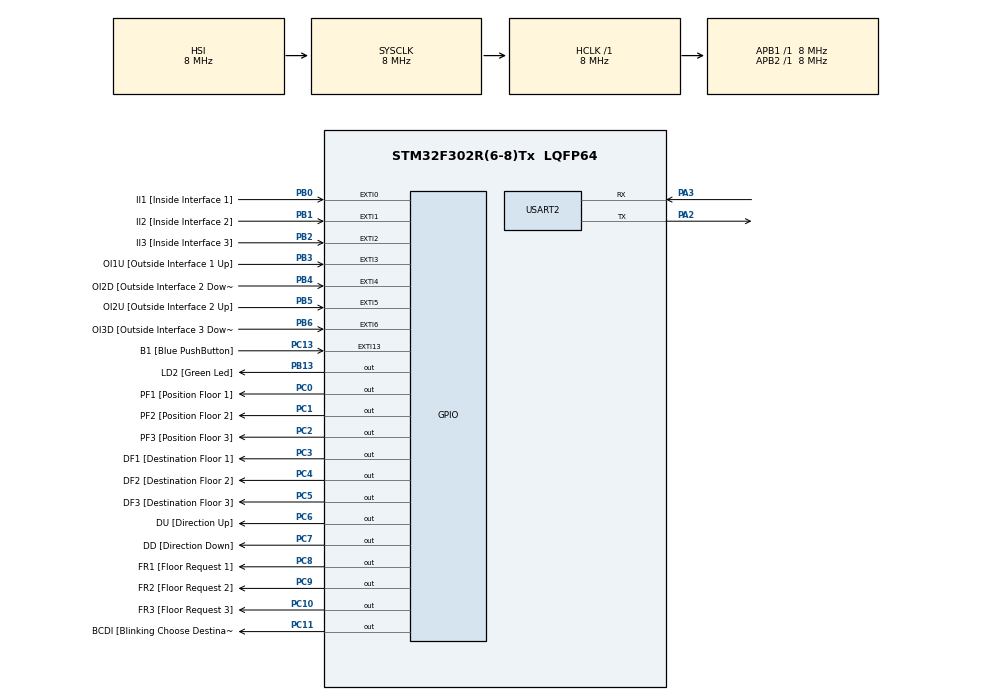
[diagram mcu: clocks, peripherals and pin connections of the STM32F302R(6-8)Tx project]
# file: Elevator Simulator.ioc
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Mcu.Family=STM32F3
Mcu.Name=STM32F302R(6-8)Tx
Mcu.Package=LQFP64
NVIC.EXTI0_IRQn=true\:0\:0\:false\:false\:true\:true\:true\:true
NVIC.EXTI15_10_IRQn=true\:0\:0\:false\:false\:true\:true\:true\:true
NVIC.EXTI1_IRQn=true\:0\:0\:false\:false\:true\:true\:true\:true
NVIC.EXTI2_TSC_IRQn=true\:0\:0\:false\:false\:true\:true\:true\:true
NVIC.EXTI3_IRQn=true\:0\:0\:false\:false\:true\:true\:true\:true
NVIC.EXTI4_IRQn=true\:0\:0\:false\:false\:true\:true\:true\:true
NVIC.EXTI9_5_IRQn=true\:0\:0\:false\:false\:true\:true\:true\:true
NVIC.PriorityGroup=NVIC_PRIORITYGROUP_4
NVIC.TIM1_BRK_TIM15_IRQn=true\:0\:0\:false\:false\:true\:true\:true\:true
NVIC.TIM2_IRQn=true\:0\:0\:false\:false\:true\:true\:true\:true
NVIC.TIM6_DAC_IRQn=true\:0\:0\:false\:false\:true\:true\:true\:true
PA2.Mode=Asynchronous
PA2.Signal=USART2_TX
PA3.Mode=Asynchronous
PA3.Signal=USART2_RX
PB0.GPIO_Label=II1 [Inside Interface 1]
PB0.GPIO_ModeDefaultEXTI=GPIO_MODE_IT_RISING
PB0.GPIO_PuPd=GPIO_PULLUP
PB0.Signal=GPXTI0
PB1.GPIO_Label=II2 [Inside Interface 2]
PB1.GPIO_ModeDefaultEXTI=GPIO_MODE_IT_RISING
PB1.GPIO_PuPd=GPIO_PULLUP
PB1.Signal=GPXTI1
PB13.GPIO_Label=LD2 [Green Led]
PB13.Signal=GPIO_Output
PB2.GPIO_Label=II3 [Inside Interface 3]
PB2.GPIO_ModeDefaultEXTI=GPIO_MODE_IT_RISING
PB2.GPIO_PuPd=GPIO_PULLUP
PB2.Signal=GPXTI2
PB3.GPIO_Label=OI1U [Outside Interface 1 Up]
PB3.GPIO_ModeDefaultEXTI=GPIO_MODE_IT_RISING
PB3.GPIO_PuPd=GPIO_PULLUP
PB3.Signal=GPXTI3
PB4.GPIO_Label=OI2D [Outside Interface 2 Down]
PB4.GPIO_ModeDefaultEXTI=GPIO_MODE_IT_RISING
PB4.GPIO_PuPd=GPIO_PULLUP
PB4.Signal=GPXTI4
PB5.GPIO_Label=OI2U [Outside Interface 2 Up]
PB5.GPIO_ModeDefaultEXTI=GPIO_MODE_IT_RISING
PB5.GPIO_PuPd=GPIO_PULLUP
PB5.Signal=GPXTI5
PB6.GPIO_Label=OI3D [Outside Interface 3 Down]
PB6.GPIO_ModeDefaultEXTI=GPIO_MODE_IT_RISING
PB6.GPIO_PuPd=GPIO_PULLUP
PB6.Signal=GPXTI6
PC0.GPIO_Label=PF1 [Position Floor 1]
PC0.Signal=GPIO_Output
PC1.GPIO_Label=PF2 [Position Floor 2]
PC1.Signal=GPIO_Output
PC10.GPIO_Label=FR3 [Floor Request 3]
PC10.Signal=GPIO_Output
PC11.GPIO_Label=BCDI [Blinking Choose Destination Indicator]
PC11.Signal=GPIO_Output
PC13.GPIO_Label=B1 [Blue PushButton]
PC13.GPIO_ModeDefaultEXTI=GPIO_MODE_IT_FALLING
PC13.Signal=GPXTI13
PC2.GPIO_Label=PF3 [Position Floor 3]
PC2.Signal=GPIO_Output
PC3.GPIO_Label=DF1 [Destination Floor 1]
PC3.Signal=GPIO_Output
PC4.GPIO_Label=DF2 [Destination Floor 2]
PC4.Signal=GPIO_Output
PC5.GPIO_Label=DF3 [Destination Floor 3]
PC5.Signal=GPIO_Output
PC6.GPIO_Label=DU [Direction Up]
PC6.Signal=GPIO_Output
PC7.GPIO_Label=DD [Direction Down]
PC7.Signal=GPIO_Output
PC8.GPIO_Label=FR1 [Floor Request 1]
PC8.Signal=GPIO_Output
PC9.GPIO_Label=FR2 [Floor Request 2]
PC9.Signal=GPIO_Output
ProjectManager.HeapSize=0x200
ProjectManager.StackSize=0x400
ProjectManager.TargetToolchain=STM32CubeIDE
RCC.AHBFreq_Value=8000000
RCC.APB1Freq_Value=8000000
RCC.APB2Freq_Value=8000000
RCC.CortexFreq_Value=8000000
RCC.HSE_VALUE=8000000
RCC.HSI_VALUE=8000000
RCC.LSE_VALUE=32768
RCC.SYSCLKFreq_VALUE=8000000
TIM15.Period=111
TIM15.Prescaler=3999
TIM2.CounterMode=TIM_COUNTERMODE_UP
TIM2.Period=9995
TIM2.Prescaler=3999
TIM6.Period=1999
TIM6.Prescaler=3999
USART2.VirtualMode-Asynchronous=VM_ASYNC
VP_TIM15_VS_ClockSourceINT.Mode=Internal
VP_TIM2_VS_ClockSourceINT.Mode=Internal
VP_TIM6_VS_ClockSourceINT.Mode=Enable_Timer
board=custom

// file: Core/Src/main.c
/* USER CODE BEGIN Header */
/**
  ******************************************************************************
  * @file           : main.c
  * @brief          : Main program body
  ******************************************************************************
  * @attention
  *
  * Copyright (c) 2024 STMicroelectronics.
  * All rights reserved.
  *
  * This software is licensed under terms that can be found in the LICENSE file
  * in the root directory of this software component.
  * If no LICENSE file comes with this software, it is provided AS-IS.
  *
  ******************************************************************************
  */
/* USER CODE END Header */
#include "main.h"

/* USER CODE BEGIN Includes */
#include <stdio.h>
#include "stdlib.h"
/* USER CODE END Includes */

/* USER CODE BEGIN PM */
struct request {
	uint8_t requested; // 0 if a floor is not requested. 1 or more if requested 1 or more times
	uint8_t floor_number; // Stores the floor number of a given request.
	char direction; // Direction of the request. Can have values 'n' for no direction, 'u' for up, 'd' for down
};
/* USER CODE END PM */

TIM_HandleTypeDef htim2;
TIM_HandleTypeDef htim6;
TIM_HandleTypeDef htim15;

UART_HandleTypeDef huart2;

/* USER CODE BEGIN PV */
// htim2 : Controls how long an elevator has until it is deemed empty
// htim6 : Controls the movement of the elevator between floors
// htim15 : Controls the BCDI LED that shows that a destination can be chosen from inside the elevator

char msg[40]; // Used to send messages regarding elevator status back to computer to be displayed in terminal
struct request floor_requests[4]; // When a floor makes a request, the requested and direction values for a floor's corresponding element are updated
char elevator_direction; // Stores direction of the elevator. Can have values 'n' for no direction, 'u' for up, and 'd' for down
uint8_t floor_position; // Stores position of the elevator
uint8_t floor_destinations[2]; // Stores the destinations of the elevator (max is 2). Can have values '0' for no floor, or '1', '2', or '3' for the floor of the destination
struct request* requests[4]; // Stores the incoming requests (like a queue). Can have values '0' for no requests, or '1', '2', or '3' for the floor of the request
uint8_t pin_num; // Used to differentiate between OI2U_Pin and OI3D_Pin in the EXTI_9_5_IRQ
struct request* serving; // Stores the floor number that the elevator is currently serving. Can have values '0' for no floor, or '1', '2', or '3' for the floors that are currently being served
uint8_t start_timer; // Indicates that the htim2 has fully ran once
uint8_t traveling; // Boolean variable that used for case 2 and 4 (Where the first floor that requests the elevator is another floor)
/* USER CODE END PV */

void SystemClock_Config(void);
static void MX_GPIO_Init(void);
static void MX_TIM2_Init(void);
static void MX_USART2_UART_Init(void);
static void MX_TIM15_Init(void);
static void MX_TIM6_Init(void);
/* USER CODE BEGIN PFP */
void Program_Start_Light_Up(void); // An LED light up sequence that makes sure all the LED in the system work
void Elevator_Simulator_Init(void); // Initializes all the variables to their default values
void Choose_Floor_To_Service(void);
/* USER CODE END PFP */

int main(void)
{

  /* MCU Configuration--------------------------------------------------------*/

  /* Reset of all peripherals, Initializes the Flash interface and the Systick. */
  HAL_Init();

  /* Configure the system clock */
  SystemClock_Config();

  /* Initialize all configured peripherals */
  MX_GPIO_Init();
  MX_TIM2_Init();
  MX_USART2_UART_Init();
  MX_TIM15_Init();
  MX_TIM6_Init();
  /* USER CODE BEGIN 2 */
  Program_Start_Light_Up();
  Elevator_Simulator_Init();
  /* USER CODE END 2 */

  /* Infinite loop */
  while (1)
  {

  }
}

void SystemClock_Config(void)
{
  RCC_OscInitTypeDef RCC_OscInitStruct = {0};
  RCC_ClkInitTypeDef RCC_ClkInitStruct = {0};
  RCC_PeriphCLKInitTypeDef PeriphClkInit = {0};

  /** Initializes the RCC Oscillators according to the specified parameters
  * in the RCC_OscInitTypeDef structure.
  */
  RCC_OscInitStruct.OscillatorType = RCC_OSCILLATORTYPE_HSI;
  RCC_OscInitStruct.HSIState = RCC_HSI_ON;
  RCC_OscInitStruct.HSICalibrationValue = RCC_HSICALIBRATION_DEFAULT;
  RCC_OscInitStruct.PLL.PLLState = RCC_PLL_NONE;
  if (HAL_RCC_OscConfig(&RCC_OscInitStruct) != HAL_OK)
  {
    Error_Handler();
  }

  /** Initializes the CPU, AHB and APB buses clocks
  */
  RCC_ClkInitStruct.ClockType = RCC_CLOCKTYPE_HCLK|RCC_CLOCKTYPE_SYSCLK
                              |RCC_CLOCKTYPE_PCLK1|RCC_CLOCKTYPE_PCLK2;
  RCC_ClkInitStruct.SYSCLKSource = RCC_SYSCLKSOURCE_HSI;
  RCC_ClkInitStruct.AHBCLKDivider = RCC_SYSCLK_DIV1;
  RCC_ClkInitStruct.APB1CLKDivider = RCC_HCLK_DIV1;
  RCC_ClkInitStruct.APB2CLKDivider = RCC_HCLK_DIV1;

  if (HAL_RCC_ClockConfig(&RCC_ClkInitStruct, FLASH_LATENCY_0) != HAL_OK)
  {
    Error_Handler();
  }
  PeriphClkInit.PeriphClockSelection = RCC_PERIPHCLK_TIM15;
  PeriphClkInit.Tim15ClockSelection = RCC_TIM15CLK_HCLK;
  if (HAL_RCCEx_PeriphCLKConfig(&PeriphClkInit) != HAL_OK)
  {
    Error_Handler();
  }
}

static void MX_TIM2_Init(void)
{

  TIM_ClockConfigTypeDef sClockSourceConfig = {0};
  TIM_MasterConfigTypeDef sMasterConfig = {0};

  htim2.Instance = TIM2;
  htim2.Init.Prescaler = 3999;
  htim2.Init.CounterMode = TIM_COUNTERMODE_UP;
  htim2.Init.Period = 9995;
  htim2.Init.ClockDivision = TIM_CLOCKDIVISION_DIV1;
  htim2.Init.AutoReloadPreload = TIM_AUTORELOAD_PRELOAD_DISABLE;
  if (HAL_TIM_Base_Init(&htim2) != HAL_OK)
  {
    Error_Handler();
  }
  sClockSourceConfig.ClockSource = TIM_CLOCKSOURCE_INTERNAL;
  if (HAL_TIM_ConfigClockSource(&htim2, &sClockSourceConfig) != HAL_OK)
  {
    Error_Handler();
  }
  sMasterConfig.MasterOutputTrigger = TIM_TRGO_RESET;
  sMasterConfig.MasterSlaveMode = TIM_MASTERSLAVEMODE_DISABLE;
  if (HAL_TIMEx_MasterConfigSynchronization(&htim2, &sMasterConfig) != HAL_OK)
  {
    Error_Handler();
  }

}

static void MX_TIM6_Init(void)
{

  TIM_MasterConfigTypeDef sMasterConfig = {0};

  htim6.Instance = TIM6;
  htim6.Init.Prescaler = 3999;
  htim6.Init.CounterMode = TIM_COUNTERMODE_UP;
  htim6.Init.Period = 1999;
  htim6.Init.AutoReloadPreload = TIM_AUTORELOAD_PRELOAD_DISABLE;
  if (HAL_TIM_Base_Init(&htim6) != HAL_OK)
  {
    Error_Handler();
  }
  sMasterConfig.MasterOutputTrigger = TIM_TRGO_RESET;
  sMasterConfig.MasterSlaveMode = TIM_MASTERSLAVEMODE_DISABLE;
  if (HAL_TIMEx_MasterConfigSynchronization(&htim6, &sMasterConfig) != HAL_OK)
  {
    Error_Handler();
  }

}

static void MX_TIM15_Init(void)
{

  TIM_ClockConfigTypeDef sClockSourceConfig = {0};
  TIM_MasterConfigTypeDef sMasterConfig = {0};

  htim15.Instance = TIM15;
  htim15.Init.Prescaler = 3999;
  htim15.Init.CounterMode = TIM_COUNTERMODE_UP;
  htim15.Init.Period = 111;
  htim15.Init.ClockDivision = TIM_CLOCKDIVISION_DIV1;
  htim15.Init.RepetitionCounter = 0;
  htim15.Init.AutoReloadPreload = TIM_AUTORELOAD_PRELOAD_DISABLE;
  if (HAL_TIM_Base_Init(&htim15) != HAL_OK)
  {
    Error_Handler();
  }
  sClockSourceConfig.ClockSource = TIM_CLOCKSOURCE_INTERNAL;
  if (HAL_TIM_ConfigClockSource(&htim15, &sClockSourceConfig) != HAL_OK)
  {
    Error_Handler();
  }
  sMasterConfig.MasterOutputTrigger = TIM_TRGO_RESET;
  sMasterConfig.MasterSlaveMode = TIM_MASTERSLAVEMODE_DISABLE;
  if (HAL_TIMEx_MasterConfigSynchronization(&htim15, &sMasterConfig) != HAL_OK)
  {
    Error_Handler();
  }

}

static void MX_USART2_UART_Init(void)
{

  huart2.Instance = USART2;
  huart2.Init.BaudRate = 38400;
  huart2.Init.WordLength = UART_WORDLENGTH_8B;
  huart2.Init.StopBits = UART_STOPBITS_1;
  huart2.Init.Parity = UART_PARITY_NONE;
  huart2.Init.Mode = UART_MODE_TX_RX;
  huart2.Init.HwFlowCtl = UART_HWCONTROL_NONE;
  huart2.Init.OverSampling = UART_OVERSAMPLING_16;
  huart2.Init.OneBitSampling = UART_ONE_BIT_SAMPLE_DISABLE;
  huart2.AdvancedInit.AdvFeatureInit = UART_ADVFEATURE_NO_INIT;
  if (HAL_UART_Init(&huart2) != HAL_OK)
  {
    Error_Handler();
  }

}

static void MX_GPIO_Init(void)
{
  GPIO_InitTypeDef GPIO_InitStruct = {0};

  /* GPIO Ports Clock Enable */
  __HAL_RCC_GPIOC_CLK_ENABLE();
  __HAL_RCC_GPIOA_CLK_ENABLE();
  __HAL_RCC_GPIOB_CLK_ENABLE();

  /*Configure GPIO pin Output Level */
  HAL_GPIO_WritePin(GPIOC, PF1_Pin|PF2_Pin|PF3_Pin|DF1_Pin
                          |DF2_Pin|DF3_Pin|DU_Pin|DD_Pin
                          |FR1_Pin|FR2_Pin|FR3_Pin|BCDI_Pin, GPIO_PIN_RESET);

  /*Configure GPIO pin Output Level */
  HAL_GPIO_WritePin(LD2_GPIO_Port, LD2_Pin, GPIO_PIN_RESET);

  /*Configure GPIO pin : B1_Pin */
  GPIO_InitStruct.Pin = B1_Pin;
  GPIO_InitStruct.Mode = GPIO_MODE_IT_FALLING;
  GPIO_InitStruct.Pull = GPIO_NOPULL;
  HAL_GPIO_Init(B1_GPIO_Port, &GPIO_InitStruct);

  /*Configure GPIO pins : PF1_Pin PF2_Pin PF3_Pin DF1_Pin
                           DF2_Pin DF3_Pin DU_Pin DD_Pin
                           FR1_Pin FR2_Pin FR3_Pin BCDI_Pin */
  GPIO_InitStruct.Pin = PF1_Pin|PF2_Pin|PF3_Pin|DF1_Pin
                          |DF2_Pin|DF3_Pin|DU_Pin|DD_Pin
                          |FR1_Pin|FR2_Pin|FR3_Pin|BCDI_Pin;
  GPIO_InitStruct.Mode = GPIO_MODE_OUTPUT_PP;
  GPIO_InitStruct.Pull = GPIO_NOPULL;
  GPIO_InitStruct.Speed = GPIO_SPEED_FREQ_LOW;
  HAL_GPIO_Init(GPIOC, &GPIO_InitStruct);

  /*Configure GPIO pins : II1_Pin II2_Pin II3_Pin OI1U_Pin
                           OI2D_Pin OI2U_Pin OI3D_Pin */
  GPIO_InitStruct.Pin = II1_Pin|II2_Pin|II3_Pin|OI1U_Pin
                          |OI2D_Pin|OI2U_Pin|OI3D_Pin;
  GPIO_InitStruct.Mode = GPIO_MODE_IT_RISING;
  GPIO_InitStruct.Pull = GPIO_PULLUP;
  HAL_GPIO_Init(GPIOB, &GPIO_InitStruct);

  /*Configure GPIO pin : LD2_Pin */
  GPIO_InitStruct.Pin = LD2_Pin;
  GPIO_InitStruct.Mode = GPIO_MODE_OUTPUT_PP;
  GPIO_InitStruct.Pull = GPIO_NOPULL;
  GPIO_InitStruct.Speed = GPIO_SPEED_FREQ_LOW;
  HAL_GPIO_Init(LD2_GPIO_Port, &GPIO_InitStruct);

  /* EXTI interrupt init*/
  HAL_NVIC_SetPriority(EXTI0_IRQn, 0, 0);
  HAL_NVIC_EnableIRQ(EXTI0_IRQn);

  HAL_NVIC_SetPriority(EXTI1_IRQn, 0, 0);
  HAL_NVIC_EnableIRQ(EXTI1_IRQn);

  HAL_NVIC_SetPriority(EXTI2_TSC_IRQn, 0, 0);
  HAL_NVIC_EnableIRQ(EXTI2_TSC_IRQn);

  HAL_NVIC_SetPriority(EXTI3_IRQn, 0, 0);
  HAL_NVIC_EnableIRQ(EXTI3_IRQn);

  HAL_NVIC_SetPriority(EXTI4_IRQn, 0, 0);
  HAL_NVIC_EnableIRQ(EXTI4_IRQn);

  HAL_NVIC_SetPriority(EXTI9_5_IRQn, 0, 0);
  HAL_NVIC_EnableIRQ(EXTI9_5_IRQn);

  HAL_NVIC_SetPriority(EXTI15_10_IRQn, 0, 0);
  HAL_NVIC_EnableIRQ(EXTI15_10_IRQn);

}

/* USER CODE BEGIN 4 */
//void HAL_TIM_PeriodElapsedCallback(TIM_HandleTypeDef *htim) {
//	if (htim->Instance == TIM2) {
////		HAL_GPIO_TogglePin(LD2_GPIO_Port, LD2_Pin);
//		for (int i = 0; i < 20; i++) {
//			msg[i] = '\0';
//		}
//	}
//}

void Elevator_Simulator_Init(void) {
	HAL_NVIC_SetPriority(TIM2_IRQn, 0, 0);
	HAL_NVIC_EnableIRQ(TIM2_IRQn);
	HAL_NVIC_SetPriority(TIM6_DAC_IRQn, 1, 1);
	HAL_NVIC_EnableIRQ(TIM6_DAC_IRQn);
	HAL_NVIC_SetPriority(TIM1_BRK_TIM15_IRQn, 1, 1);
	HAL_NVIC_EnableIRQ(TIM1_BRK_TIM15_IRQn);

	// Floor request corresponding to floor 1 in an upward direction
	floor_requests[0].requested = 0;
	floor_requests[0].floor_number = 1;
	floor_requests[0].direction = 'u';

	// Floor request corresponding to floor 2 in a downward direction
	floor_requests[1].requested = 0;
	floor_requests[1].floor_number = 2;
	floor_requests[1].direction = 'd';

	// Floor request corresponding to floor 2 in an upward direction
	floor_requests[2].requested = 0;
	floor_requests[2].floor_number = 2;
	floor_requests[2].direction = 'u';

	// Floor request corresponding to floor 3 in a downward direction
	floor_requests[3].requested = 0;
	floor_requests[3].floor_number = 3;
	floor_requests[3].direction = 'd';

	elevator_direction = 'n';
	floor_position = 1; // The elevator always begins in the first floor

	for (int i = 0; i < 2; i++) {
		floor_destinations[i] = 0;
	}

	for (int i =  0; i < 3; i++) {
			requests[i] = NULL;
		}

	pin_num = 0;
	serving = NULL;
	start_timer = 0;
	traveling = 0;

	HAL_GPIO_WritePin(PF1_GPIO_Port, PF1_Pin, GPIO_PIN_SET);
}

void Program_Start_Light_Up(void) {
	HAL_GPIO_TogglePin(PF1_GPIO_Port, PF1_Pin);
	HAL_Delay(250);

	HAL_GPIO_TogglePin(PF2_GPIO_Port, PF2_Pin);
	HAL_GPIO_TogglePin(PF1_GPIO_Port, PF1_Pin);
	HAL_Delay(250);

	HAL_GPIO_TogglePin(PF3_GPIO_Port, PF3_Pin);
	HAL_GPIO_TogglePin(PF2_GPIO_Port, PF2_Pin);
	HAL_Delay(250);

	HAL_GPIO_TogglePin(DF1_GPIO_Port, DF1_Pin);
	HAL_GPIO_TogglePin(PF3_GPIO_Port, PF3_Pin);
	HAL_Delay(250);

	HAL_GPIO_TogglePin(DF2_GPIO_Port, DF2_Pin);
	HAL_GPIO_TogglePin(DF1_GPIO_Port, DF1_Pin);
	HAL_Delay(250);

	HAL_GPIO_TogglePin(DF3_GPIO_Port, DF3_Pin);
	HAL_GPIO_TogglePin(DF2_GPIO_Port, DF2_Pin);
	HAL_Delay(250);

	HAL_GPIO_TogglePin(DU_GPIO_Port, DU_Pin);
	HAL_GPIO_TogglePin(DF3_GPIO_Port, DF3_Pin);
	HAL_Delay(250);

	HAL_GPIO_TogglePin(DD_GPIO_Port, DD_Pin);
	HAL_GPIO_TogglePin(DU_GPIO_Port, DU_Pin);
	HAL_Delay(250);

	HAL_GPIO_TogglePin(FR1_GPIO_Port, FR1_Pin);
	HAL_GPIO_TogglePin(DD_GPIO_Port, DD_Pin);
	HAL_Delay(250);

	HAL_GPIO_TogglePin(FR2_GPIO_Port, FR2_Pin);
	HAL_GPIO_TogglePin(FR1_GPIO_Port, FR1_Pin);
	HAL_Delay(250);

	HAL_GPIO_TogglePin(FR3_GPIO_Port, FR3_Pin);
	HAL_GPIO_TogglePin(FR2_GPIO_Port, FR2_Pin);
	HAL_Delay(250);

	HAL_GPIO_TogglePin(BCDI_GPIO_Port, BCDI_Pin);
	HAL_GPIO_TogglePin(FR3_GPIO_Port, FR3_Pin);
	HAL_Delay(250);

	HAL_GPIO_TogglePin(BCDI_GPIO_Port, BCDI_Pin);
	HAL_Delay(1000);
}

void HAL_GPIO_EXTI_Callback(uint16_t GPIO_Pin) {
	if (GPIO_Pin == OI2U_Pin) {
		pin_num = 2;
	} else if (GPIO_Pin == OI3D_Pin) {
		pin_num = 3;
	}
}

void HAL_TIM_PeriodElapsedCallback(TIM_HandleTypeDef* htim)
{
	// IF htim2 has fully run once, it will check if there are any destination
	if (htim->Instance == TIM2 && start_timer == 1) {
		// IF no destinations, the elevator has finished serving the floor in the serving variable
		if (!floor_destinations[0]) {
			// IF there are no other requests, stop moving the elevator
//			if (!requests[0] && !serving) {
			if (!requests[0]) {
				sprintf(msg, "NOTHING TO DO\r\n");
				HAL_UART_Transmit(&huart2, (uint8_t*) msg, 15, 100);
			}

			// reset the serving variable and the LED corresponding to the elevator_direction variable
			serving->requested = 0;
			serving = NULL;
			HAL_GPIO_WritePin(GPIOC, elevator_direction == 'u' ? DU_Pin : DD_Pin, GPIO_PIN_RESET);
			Choose_Floor_To_Service();

		} // ELSE IF only one destination, begin moving elevator
		  else if (floor_destinations[1] == 0) {
		    elevator_direction = floor_destinations[0] < floor_position ? 'd' : 'u';
		    HAL_GPIO_WritePin(GPIOC, elevator_direction == 'u' ? DD_Pin : DU_Pin, GPIO_PIN_RESET);
		    HAL_GPIO_WritePin(GPIOC, elevator_direction == 'u' ? DU_Pin : DD_Pin, GPIO_PIN_SET);
		    HAL_TIM_Base_Start_IT(&htim6);

		} // ELSE (two destinations), choose closest one, and move to that floor
		  else {
			HAL_GPIO_WritePin(GPIOC, elevator_direction == 'u' ? DU_Pin : DD_Pin, GPIO_PIN_SET);
			// IF second destination chosen is closer to elevator, swap values to let the closest value be the first destination
			if (floor_destinations[0] - floor_position > floor_destinations[1] - floor_position) {
				uint8_t temp = floor_destinations[0];
				floor_destinations[0] = floor_destinations[1];
				floor_destinations[1] = temp;
			}
			elevator_direction = floor_destinations[0] < floor_position ? 'd' : 'u';
			HAL_GPIO_WritePin(GPIOC, elevator_direction == 'u' ? DD_Pin : DU_Pin, GPIO_PIN_RESET);
			HAL_GPIO_WritePin(GPIOC, elevator_direction == 'u' ? DU_Pin : DD_Pin, GPIO_PIN_SET);
			HAL_TIM_Base_Start_IT(&htim6);
		}
	}
}
/* USER CODE END 4 */

void Error_Handler(void)
{
  __disable_irq();
  while (1)
  {
  }
}
